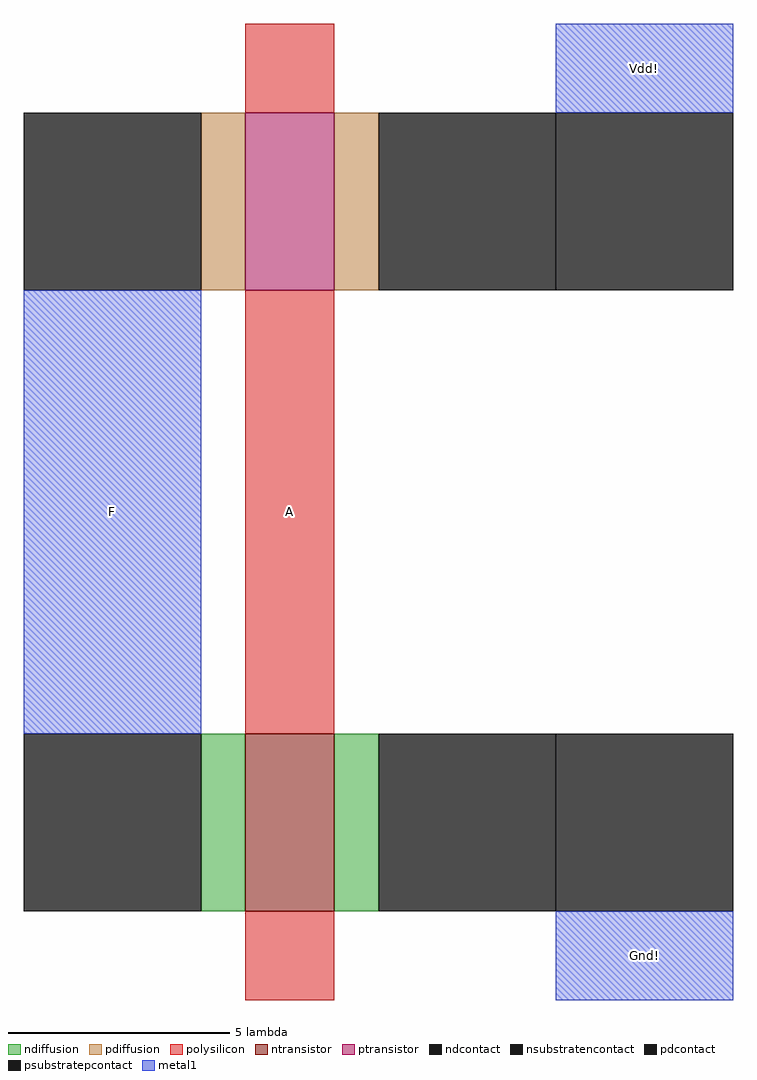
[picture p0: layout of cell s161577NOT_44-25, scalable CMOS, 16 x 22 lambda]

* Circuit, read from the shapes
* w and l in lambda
.subckt s161577NOT_44-25 A F Gnd! Vdd!
M1 Gnd! A F Gnd! nfet w=4 l=2
M2 Vdd! A F Vdd! pfet w=4 l=2
.ends

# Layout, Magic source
magic
tech scmos
<< polysilicon >>
rect -77 9 -75 11
rect -77 -5 -75 5
rect -77 -11 -75 -9
<< ndiffusion >>
rect -78 -9 -77 -5
rect -75 -9 -74 -5
<< pdiffusion >>
rect -78 5 -77 9
rect -75 5 -74 9
<< metal1 >>
rect -70 9 -66 11
rect -82 -5 -78 5
rect -70 -11 -66 -9
<< ntransistor >>
rect -77 -9 -75 -5
<< ptransistor >>
rect -77 5 -75 9
<< ndcontact >>
rect -82 -9 -78 -5
rect -74 -9 -70 -5
<< pdcontact >>
rect -82 5 -78 9
rect -74 5 -70 9
<< psubstratepcontact >>
rect -70 -9 -66 -5
<< nsubstratencontact >>
rect -70 5 -66 9
<< labels >>
rlabel metal1 -80 0 -80 0 3 F
rlabel metal1 -68 10 -68 10 6 Vdd!
rlabel metal1 -68 -10 -68 -10 8 Gnd!
rlabel polysilicon -76 0 -76 0 1 A
<< end >>
